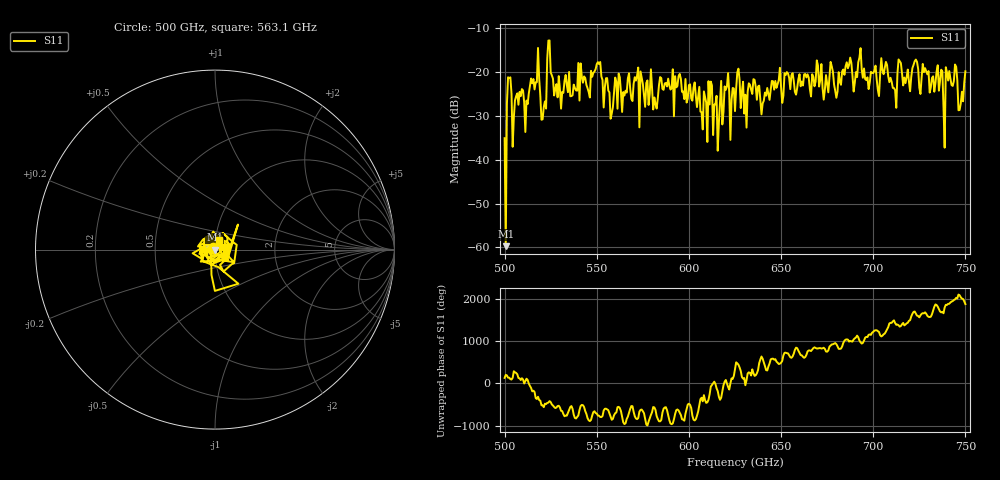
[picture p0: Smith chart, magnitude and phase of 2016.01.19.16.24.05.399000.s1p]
!Created with skrf (http://scikit-rf.org).
# GHz S RI R 50.0
!freq ReS11 ImS11
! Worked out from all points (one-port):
!   401 points, 500 GHz to 750 GHz, reference 50 ohm
!   lowest |S11| = -59.7 dB at 500.6 GHz (marker M1), VSWR 1.00, Z = 49.9 - j0.0397 ohm
!   |S11| at or under -10 dB: start of sweep to end of sweep
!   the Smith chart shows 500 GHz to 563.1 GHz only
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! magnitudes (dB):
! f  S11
! 500 GHz  -35.1
! 500.6 GHz  -59.7
! 502.5 GHz  -21.3
! 505.6 GHz  -26.4
! 517.5 GHz  -22.3
! 521.2 GHz  -27.9
! 524.4 GHz  -12.7
! 531.2 GHz  -24.5
! 550.6 GHz  -17.7
! 557.5 GHz  -30.6
! 562.5 GHz  -21.2
! 571.2 GHz  -21.9
! 581.9 GHz  -27.3
! 593.8 GHz  -23.2
! 611.9 GHz  -22.1
! 614.4 GHz  -27.3
! 625 GHz  -28.9
! 640 GHz  -27.1
! 656.2 GHz  -20.2
! 680 GHz  -25.8
! 687.5 GHz  -16.7
! 718.8 GHz  -19.4
! 723.1 GHz  -17.1
! 739.4 GHz  -18.9
! 740.6 GHz  -21.9
! 744.4 GHz  -18.2
! 747.5 GHz  -27.1
! 750 GHz  -19.8
